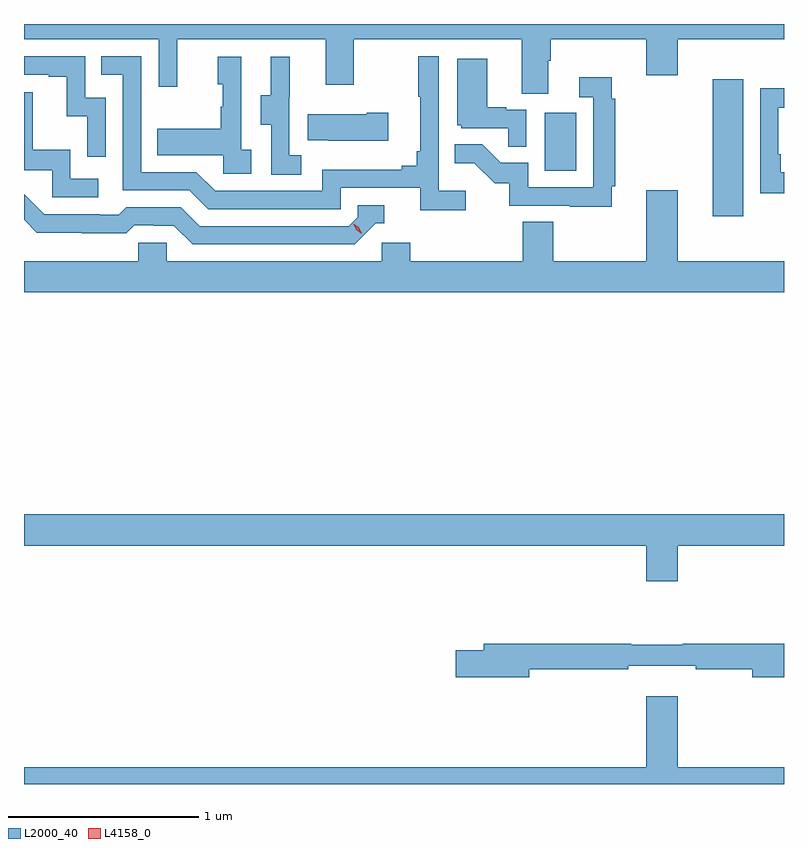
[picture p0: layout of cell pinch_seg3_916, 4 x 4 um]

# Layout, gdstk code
import gdstk
lib = gdstk.Library(unit=1e-6, precision=1e-09)
def R(c, l, rs):  # rectangles x0, y0, x1, y1
    for r in rs: c.add(gdstk.rectangle(r[:2], r[2:], *l))
def P(c, l, *ps):  # polygons
    for p in ps: c.add(gdstk.Polygon(p, *l))
L2000_40 = (2000, 40)
L4158_0 = (4158, 0)

pinch_seg3_916 = lib.new_cell('pinch_seg3_916')
R(pinch_seg3_916, L2000_40, [(884.636,682.668,884.797,683.389), (883.754,682.908,883.918,683.215)])
P(pinch_seg3_916, L2000_40, [(883.771,683.488),(883.784,683.488),(883.784,683.6),(884.288,683.6),(884.288,683.412),(884.452,683.412),(884.452,683.6),(885.012,683.6),(885.012,683.681),(881.012,683.681),(881.012,683.6),(881.721,683.6),(881.721,683.352),(881.819,683.352),(881.819,683.6),(882.599,683.6),(882.599,683.361),(882.747,683.361),(882.747,683.6),(883.631,683.6),(883.631,683.314),(883.771,683.314)],
  [(883.336,682.804),(883.194,682.804),(883.194,683.512),(883.086,683.512),(883.086,683.299),(883.097,683.299),(883.097,683.011),(883.078,683.011),(883.078,682.934),(883.001,682.934),(883.001,682.915),(882.582,682.915),(882.582,682.803),(882.018,682.803),(881.919,682.902),(881.628,682.902),(881.628,683.511),(881.419,683.511),(881.419,683.415),(881.532,683.415),(881.532,682.806),(881.882,682.806),(881.981,682.707),(882.678,682.707),(882.678,682.818),(883.097,682.818),(883.097,682.702),(883.336,682.702)],
  [(881.442,683.292),(881.334,683.292),(881.334,683.511),(881.012,683.511),(881.012,683.415),(881.141,683.415),(881.141,683.403),(881.237,683.403),(881.237,683.195),(881.346,683.195),(881.346,682.983),(881.442,682.983)],
  [(882.208,683.018),(882.156,683.018),(882.156,683.509),(882.032,683.509),(882.032,683.364),(882.058,683.364),(882.058,683.246),(882.048,683.246),(882.048,683.131),(881.713,683.131),(881.713,682.991),(882.06,682.991),(882.06,682.893),(882.208,682.893)],
  [(882.472,682.991),(882.408,682.991),(882.408,683.295),(882.41,683.295),(882.41,683.509),(882.311,683.509),(882.311,683.307),(882.257,683.307),(882.257,683.152),(882.312,683.152),(882.312,682.888),(882.472,682.888)],
  [(883.656,683.229),(883.55,683.229),(883.55,683.242),(883.45,683.242),(883.45,683.497),(883.292,683.497),(883.292,683.148),(883.314,683.148),(883.314,683.133),(883.561,683.133),(883.561,683.035),(883.656,683.035)],
  [(884.105,682.828),(884.123,682.828),(884.123,683.288),(884.105,683.288),(884.105,683.401),(883.935,683.401),(883.935,683.295),(884.007,683.295),(884.007,682.821),(883.665,682.821),(883.665,682.95),(883.521,682.95),(883.423,683.048),(883.279,683.048),(883.279,682.949),(883.383,682.949),(883.49,682.842),(883.567,682.842),(883.567,682.725),(883.885,682.725),(883.885,682.72),(884.105,682.72)],
  [(885.012,682.9),(884.996,682.9),(884.996,682.996),(884.982,682.996),(884.982,683.241),(885.012,683.241),(885.012,683.342),(884.886,683.342),(884.886,682.791),(885.012,682.791)],
  [(881.404,682.866),(881.256,682.866),(881.256,683.02),(881.057,683.02),(881.057,683.323),(881.012,683.323),(881.012,682.911),(881.16,682.911),(881.16,682.77),(881.404,682.77)],
  [(882.928,683.214),(882.815,683.214),(882.815,683.206),(882.505,683.206),(882.505,683.069),(882.613,683.069),(882.613,683.066),(882.928,683.066)],
  [(885.012,682.432),(884.452,682.432),(884.452,682.807),(884.288,682.807),(884.288,682.432),(883.797,682.432),(883.797,682.64),(883.637,682.64),(883.637,682.432),(883.046,682.432),(883.046,682.53),(882.894,682.53),(882.894,682.432),(881.763,682.432),(881.763,682.53),(881.613,682.53),(881.613,682.432),(881.012,682.432),(881.012,682.268),(885.012,682.268)],
  [(882.864,682.632),(882.907,682.632),(882.907,682.728),(882.768,682.728),(882.768,682.665),(882.72,682.617),(881.937,682.617),(881.838,682.716),(881.549,682.716),(881.51,682.677),(881.411,682.677),(881.411,682.68),(881.118,682.68),(881.012,682.786),(881.012,682.651),(881.08,682.583),(881.316,682.583),(881.316,682.581),(881.549,682.581),(881.591,682.623),(881.694,682.623),(881.694,682.62),(881.801,682.62),(881.9,682.521),(882.753,682.521)],
  [(884.452,680.936),(885.012,680.936),(885.012,681.1),(881.012,681.1),(881.012,680.936),(884.288,680.936),(884.288,680.748),(884.452,680.748)],
  [(883.672,680.284),(884.192,680.284),(884.192,680.303),(884.548,680.303),(884.548,680.284),(884.846,680.284),(884.846,680.242),(885.012,680.242),(885.012,680.42),(884.479,680.42),(884.479,680.413),(884.208,680.413),(884.208,680.42),(883.433,680.42),(883.433,680.384),(883.284,680.384),(883.284,680.242),(883.672,680.242)],
  [(885.012,679.768),(884.452,679.768),(884.452,680.143),(884.288,680.143),(884.288,679.768),(881.012,679.768),(881.012,679.681),(885.012,679.681)])
P(pinch_seg3_916, L4158_0, [(882.79,682.578),(882.76,682.598),(882.744,682.631),(882.744,682.631),(882.745,682.631),(882.775,682.611),(882.79,682.578),(882.79,682.578)])

lib.write_gds('pinch_seg3_916.gds')
